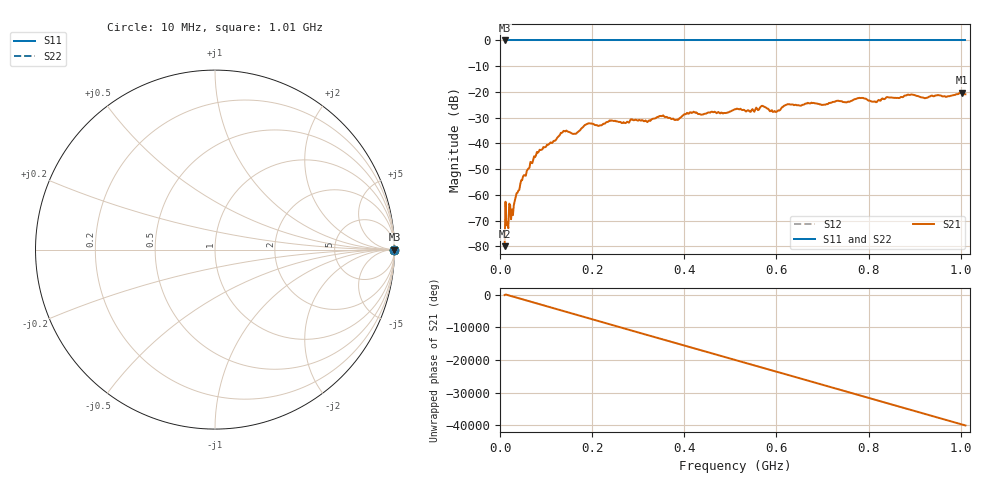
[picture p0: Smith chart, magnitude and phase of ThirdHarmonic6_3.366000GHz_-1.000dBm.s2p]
! 8/17/2025 10:39:54 AM
! C:\ANRITSUVNA\TEMP\TEMP.S2P
! CHANNEL.1
! TR.MEASUREMENT
! RAW.DATA
! RF.CORRECTION.OFF
! AVERAGING.OFF
! IF.BANDWIDTH: 5KHZ
! SWEEPTYPE:  FREQ.SWEEP(Linear)
! Reference Plane Port Info
! PORT:  PORT1  PORT2
! DISTANCE:  0  m  0  m
! TIME:  0  s  0  s
! PHASE.OFFSET:  0  deg.  0  deg.
! LOSS:  0  dB  0  dB
! REF.LOSS:  0  dB  0  dB
! REF.FREQ:  0  Hz  0  Hz
! Power Info
! POWER:  -20  dBm  -20  dBm
! EFF.POWER:  -20  dBm  -20  dBm
! SOURCE.ATTEN:  0  dB  0  dB
! TEST.ATTEN:  0  dB  0  dB
# GHZ S RI R 50.0
! FREQ.GHZ  S11RE  S11IM  S21RE  S21IM  S12RE  S12IM  S22RE  S22IM
!; PortSelection: Port_12
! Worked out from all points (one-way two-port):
!   501 points, 10 MHz to 1.01 GHz, reference 50 ohm
!   highest |S21| = -20.30 dB at 1.002 GHz (marker M1); lowest = -79.9 dB at 10 MHz (marker M2)
!   lowest |S11| = 0.0 dB at 10 MHz (marker M3)
!   |S11| at or under -10 dB: nowhere
!   |S22| runs from 0.0 to 0.0 dB; largest |S21 - S12| = 1.1
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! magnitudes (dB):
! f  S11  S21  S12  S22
! 10 MHz  0.0  -79.9  0.0  0.0
! 16 MHz  0.0  -70.8  0.0  0.0
! 28 MHz  0.0  -67.9  0.0  0.0
! 48 MHz  0.0  -54.3  0.0  0.0
! 78 MHz  0.0  -44.7  0.0  0.0
! 136 MHz  0.0  -35.6  0.0  0.0
! 162 MHz  0.0  -36.2  0.0  0.0
! 178 MHz  0.0  -34.0  0.0  0.0
! 192 MHz  0.0  -32.2  0.0  0.0
! 322 MHz  0.0  -31.3  0.0  0.0
! 344 MHz  0.0  -29.7  0.0  0.0
! 382 MHz  0.0  -30.9  0.0  0.0
! 416 MHz  0.0  -28.2  0.0  0.0
! 510 MHz  0.0  -26.7  0.0  0.0
! 570 MHz  0.0  -25.4  0.0  0.0
! 596 MHz  0.0  -27.4  0.0  0.0
! 624 MHz  0.0  -24.8  0.0  0.0
! 678 MHz  0.0  -24.3  0.0  0.0
! 814 MHz  0.0  -23.7  0.0  0.0
! 844 MHz  0.0  -22.2  0.0  0.0
! 1.002 GHz  0.0  -20.3  0.0  0.0
! 1.01 GHz  0.0  -20.9  0.0  0.0
